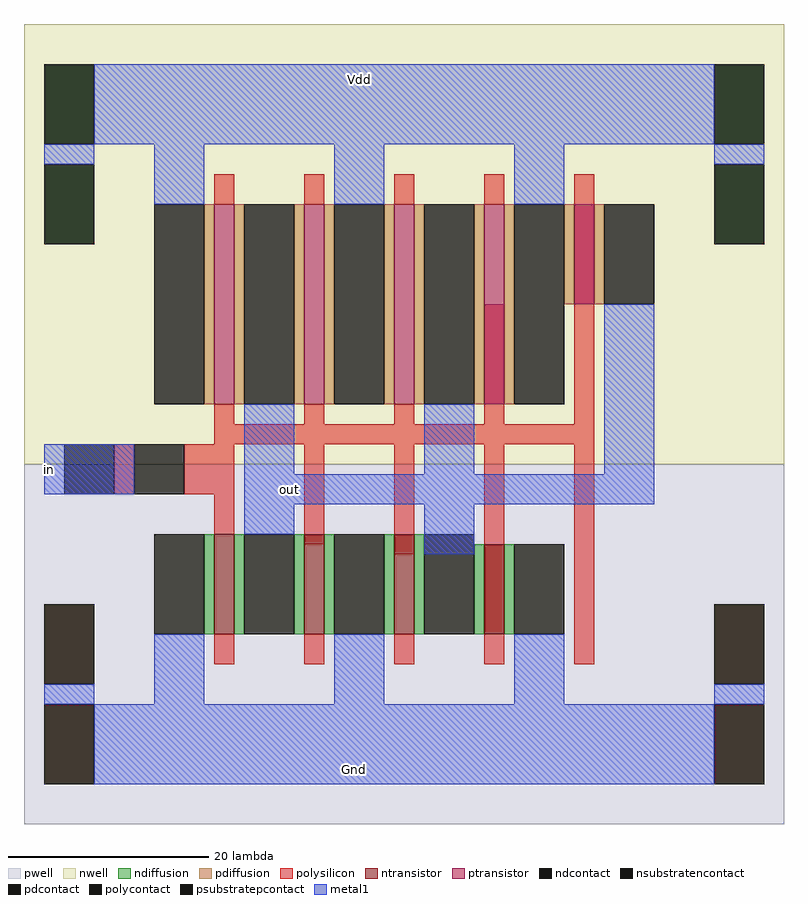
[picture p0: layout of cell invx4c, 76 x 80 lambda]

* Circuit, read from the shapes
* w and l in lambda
.subckt invx4c Gnd Vdd in out
M1 out in Gnd Gnd nfet w=10 l=2 m=3
M2 Gnd in out Gnd nfet w=9 l=2
M3 out in Vdd Vdd pfet w=20 l=2 m=4
M4 out in Vdd Vdd pfet w=10 l=2
.ends

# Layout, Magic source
magic
tech sample_6m
<< nwell >>
rect -13 32 63 76
<< pwell >>
rect -13 -4 63 32
<< ntransistor >>
rect 6 15 8 25
rect 15 15 17 25
rect 24 15 26 25
rect 33 15 35 24
rect 42 15 44 15
<< ptransistor >>
rect 6 38 8 58
rect 15 38 17 58
rect 24 38 26 58
rect 33 38 35 58
rect 42 48 44 58
<< ndiffusion >>
rect 56 64 61 72
rect 56 54 61 62
rect -11 64 -6 72
rect -11 54 -6 62
rect 5 15 6 25
rect 8 15 9 25
rect 14 15 15 25
rect 17 15 18 25
rect 23 15 24 25
rect 26 15 27 25
rect 32 15 33 24
rect 35 15 36 24
rect 41 15 42 15
rect 44 15 45 15
<< pdiffusion >>
rect -11 0 -6 8
rect -11 10 -6 18
rect 56 0 61 8
rect 56 10 61 18
rect 5 38 6 58
rect 8 38 9 58
rect 14 38 15 58
rect 17 38 18 58
rect 23 38 24 58
rect 26 38 27 58
rect 32 38 33 58
rect 35 38 36 58
rect 41 48 42 58
rect 44 48 45 58
<< ndcontact >>
rect 0 15 5 25
rect 9 15 14 25
rect 18 15 23 25
rect 27 15 32 25
rect 36 15 41 24
rect 45 15 50 15
<< pdcontact >>
rect 0 38 5 58
rect 9 38 14 58
rect 18 38 23 58
rect 27 38 32 58
rect 36 38 41 58
rect 45 48 50 58
<< polysilicon >>
rect 8 34 42 36
rect 6 58 8 61
rect 15 58 17 61
rect 24 58 26 61
rect 33 58 35 61
rect 6 34 8 38
rect 3 29 8 34
rect -4 29 -2 34
rect 6 25 8 29
rect 15 24 17 38
rect 24 23 26 38
rect 33 15 35 48
rect 6 12 8 15
rect 15 12 17 15
rect 24 12 26 15
rect 33 12 35 15
rect 42 12 44 61
<< polycontact >>
rect -2 29 3 34
rect -9 29 -4 34
<< nsubstratencontact >>
rect -11 64 -6 72
rect -11 54 -6 62
rect 56 64 61 72
rect 56 54 61 62
<< psubstratepcontact >>
rect -11 0 -6 8
rect -11 10 -6 18
rect 56 0 61 8
rect 56 10 61 18
<< metal1 >>
rect -6 64 56 72
rect -11 62 -6 64
rect 0 58 5 64
rect 56 62 61 64
rect 18 58 23 64
rect 36 58 41 64
rect -11 29 -2 34
rect 9 31 14 38
rect 27 31 32 38
rect 45 31 50 48
rect 45 16 50 16
rect 9 28 50 31
rect 9 25 14 30
rect 27 23 32 30
rect 0 8 5 15
rect 18 8 23 15
rect 36 8 41 15
rect 36 8 41 8
rect -6 0 56 8
rect -11 8 -6 10
rect 56 8 61 10
<< labels >>
rlabel metal1 19 69 22 72 5 Vdd 
rlabel metal1 19 0 21 3 1 Gnd
rlabel metal1 -11 31 -10 32 3 in
rlabel metal1 13 29 14 30 1 out
<< end >>
